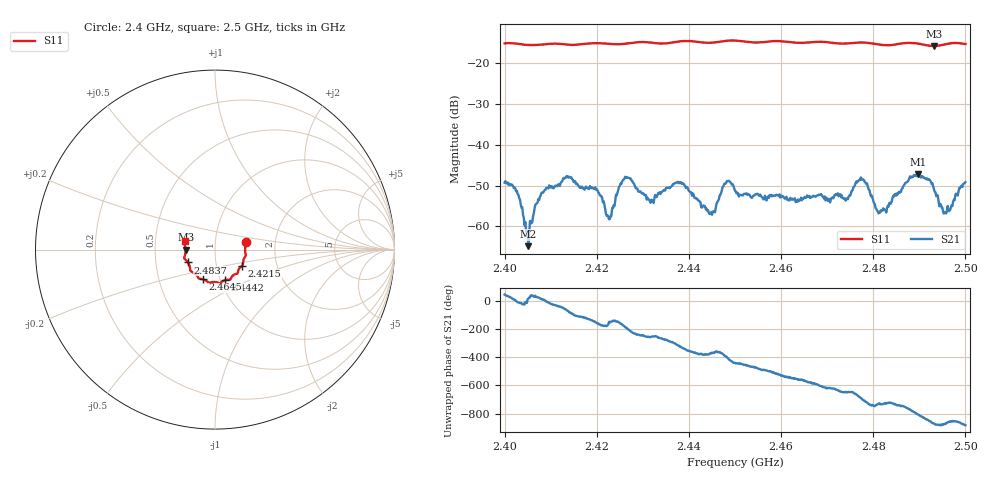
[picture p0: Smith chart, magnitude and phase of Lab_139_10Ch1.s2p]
# Hz S RI R 50
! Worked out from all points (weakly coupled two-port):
!   601 points, 2.4 GHz to 2.5 GHz, reference 50 ohm
!   highest |S21| = -47.24 dB at 2.4897 GHz (marker M1); lowest = -64.9 dB at 2.4052 GHz (marker M2)
!   lowest |S11| = -15.7 dB at 2.4932 GHz (marker M3), VSWR 1.39, Z = 35.9 - j0.0599 ohm
!   |S11| at or under -10 dB: start of sweep to end of sweep
!   S12 and S22 are empty: the file has one direction only
!   S11 on the Smith chart (normalised r, x): 2.4 GHz: 1.41, +0.12; 2.4215 GHz: 1.33, -0.25; 2.4442 GHz: 1.05, -0.37; 2.4645 GHz: 0.83, -0.29; 2.4837 GHz: 0.73, -0.11; 2.5 GHz: 0.71, +0.07
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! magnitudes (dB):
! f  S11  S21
! 2.4 GHz  -15.1  -49.3
! 2.4027 GHz  -15.2  -51.3
! 2.4052 GHz  -15.5  -64.9
! 2.4092 GHz  -15.3  -50.6
! 2.4167 GHz  -15.3  -50.6
! 2.4215 GHz  -15.1  -53.8
! 2.4227 GHz  -15.2  -58.3
! 2.4265 GHz  -15.1  -47.9
! 2.4333 GHz  -15.1  -51.8
! 2.4385 GHz  -14.5  -49.6
! 2.4442 GHz  -15.0  -56.1
! 2.45 GHz  -14.4  -51.3
! 2.4645 GHz  -15.0  -53.6
! 2.4667 GHz  -14.8  -52.8
! 2.4775 GHz  -14.9  -48.5
! 2.481 GHz  -15.3  -56.3
! 2.4833 GHz  -15.6  -55.1
! 2.4837 GHz  -15.5  -54.3
! 2.4897 GHz  -15.1  -47.2
! 2.4932 GHz  -15.7  -50.8
! 2.4955 GHz  -15.4  -56.6
! 2.5 GHz  -15.3  -49.1
